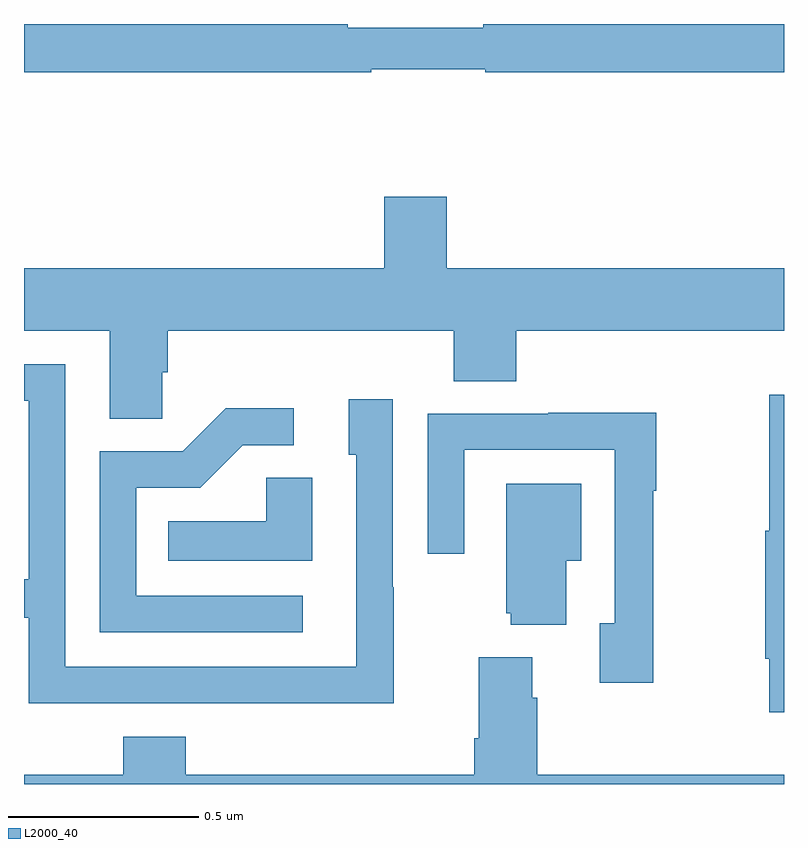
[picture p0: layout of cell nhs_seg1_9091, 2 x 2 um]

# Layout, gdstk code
import gdstk
lib = gdstk.Library(unit=1e-6, precision=1e-09)
def P(c, l, *ps):  # polygons
    for p in ps: c.add(gdstk.Polygon(p, *l))
L2000_40 = (2000, 40)

nhs_seg1_9091 = lib.new_cell('nhs_seg1_9091')
P(nhs_seg1_9091, L2000_40, [(224.914,559.08),(225.214,559.08),(225.214,559.072),(226,559.072),(226,559.199),(225.208,559.199),(225.208,559.189),(224.852,559.189),(224.852,559.199),(224,559.199),(224,559.072),(224.914,559.072)],
  [(224.364,558.283),(224.378,558.283),(224.378,558.392),(225.131,558.392),(225.131,558.259),(225.296,558.259),(225.296,558.392),(226,558.392),(226,558.556),(225.112,558.556),(225.112,558.745),(224.948,558.745),(224.948,558.556),(224,558.556),(224,558.392),(224.225,558.392),(224.225,558.16),(224.364,558.16)],
  [(224.973,557.717),(224.97,557.717),(224.97,558.211),(224.855,558.211),(224.855,558.066),(224.874,558.066),(224.874,557.508),(224.109,557.508),(224.109,558.303),(224,558.303),(224,558.207),(224.013,558.207),(224.013,557.738),(224,557.738),(224,557.637),(224.013,557.637),(224.013,557.412),(224.509,557.412),(224.509,557.411),(224.973,557.411)],
  [(226,558.223),(225.961,558.223),(225.961,557.865),(225.95,557.865),(225.95,557.529),(225.961,557.529),(225.961,557.388),(226,557.388)],
  [(224.734,557.694),(224.295,557.694),(224.295,557.979),(224.464,557.979),(224.575,558.09),(224.71,558.09),(224.71,558.188),(224.531,558.188),(224.418,558.075),(224.199,558.075),(224.199,557.598),(224.734,557.598)],
  [(225.656,557.971),(225.664,557.971),(225.664,558.176),(225.379,558.176),(225.379,558.174),(225.063,558.174),(225.063,557.805),(225.159,557.805),(225.159,558.078),(225.555,558.078),(225.555,557.622),(225.515,557.622),(225.515,557.466),(225.656,557.466)],
  [(224.758,558.005),(224.637,558.005),(224.637,557.89),(224.38,557.89),(224.38,557.786),(224.758,557.786)],
  [(225.427,557.786),(225.466,557.786),(225.466,557.989),(225.269,557.989),(225.269,557.649),(225.281,557.649),(225.281,557.618),(225.427,557.618)],
  [(226,557.224),(225.35,557.224),(225.35,557.426),(225.337,557.426),(225.337,557.533),(225.197,557.533),(225.197,557.32),(225.185,557.32),(225.185,557.224),(224.426,557.224),(224.426,557.323),(224.261,557.323),(224.261,557.224),(224,557.224),(224,557.199),(226,557.199)])

lib.write_gds('nhs_seg1_9091.gds')
